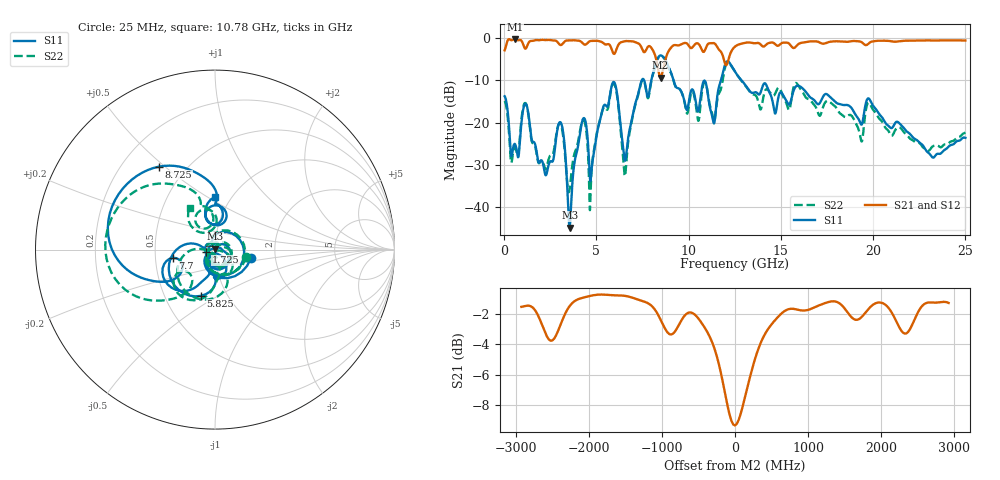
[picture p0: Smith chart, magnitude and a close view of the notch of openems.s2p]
! RG_s4_pwr_n4_cap2: Finite board 24 × 16 mm, via L1 → L4 through the GND/PWR pair L2/L3, four GND vias at 1 mm joined to L2 only (openings in the PWR plane L3), a capacitor between L2 and L3 2 mm away
! stackup: 4-layer 1.6 mm FR-4
! ports: 1 L1, 2 L4
! openEMS 0.37.0, staircase, fine mesh (dfine 0.035 mm), 1536150 cells
# Hz S RI R 50
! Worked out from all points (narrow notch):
!   1000 points, 25 MHz to 25 GHz, reference 50 ohm
!   highest |S21| = -0.26 dB at 575 MHz (marker M1); lowest = -9.3 dB at 8.475 GHz (marker M2)
!   notch at M2: 8.4 dB deep, 490 MHz wide at half that depth
!   lowest |S11| = -44.8 dB at 3.55 GHz (marker M3), VSWR 1.01, Z = 49.8 + j0.545 ohm
!   |S11| at or under -10 dB: start of sweep to 7.459 GHz; 9.181 GHz to 11.75 GHz (2.569 GHz wide, 24.5 % of centre); 12.87 GHz to end of sweep (the widest 3 of 4)
!   |S22| runs from -40.7 to -4.3 dB; largest |S21 - S12| = 0.028
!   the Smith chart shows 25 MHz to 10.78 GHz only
!   S11 on the Smith chart (normalised r, x): 25 MHz: 1.49, -0.15; 1.725 GHz: 0.91, -0.02; 5.825 GHz: 0.75, -0.42; 7.7 GHz: 0.61, -0.06; 8.725 GHz: 0.36, +0.48; 10.78 GHz: 0.84, +0.54
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2.5e7  0.1992 -0.0473  0.7129 0.0384  0.7406 0.0322  0.1748 -0.0416
5.75e8  -0.0548 0.012  0.945 -0.2211  0.9392 -0.2199  -0.0495 0.0119
1.15e9  0.1493 -0.0764  0.6678 -0.3344  0.6688 -0.3281  0.1539 -0.0734
1.725e9  -0.0484 -0.0129  0.754 -0.5703  0.754 -0.5708  -0.0458 -0.0122
2.3e9  -0.0129 0.0211  0.5704 -0.7537  0.5705 -0.7535  -0.0136 0.0261
3.075e9  0.034 -0.0937  0.2714 -0.7794  0.2715 -0.7795  0.0452 -0.0831
3.55e9  -0.00174 0.00547  0.1448 -0.9241  0.1447 -0.9241  -0.000665 0.0164
4.2e9  0.0759 -0.0612  -0.1776 -0.8754  -0.1775 -0.8757  0.0923 -0.0345
4.7e9  0.00676 -0.0211  -0.2859 -0.8775  -0.2859 -0.8776  0.0185 -0.00499
5.825e9  -0.08 -0.2581  -0.6001 -0.4322  -0.6008 -0.433  0.0151 -0.2605
6.55e9  -0.0298 -0.0193  -0.7852 -0.4727  -0.7855 -0.4729  -0.0119 -0.02
7.7e9  -0.2367 -0.0464  -0.7261 -0.00735  -0.7269 -0.00656  -0.2012 -0.125
8.35e9  -0.5879 0.0422  -0.3647 0.211  -0.3647 0.2125  -0.5568 -0.1623
8.475e9  -0.5729 0.2414  -0.3358 0.0591  -0.3358 0.0603  -0.6113 0.029
8.725e9  -0.3131 0.462  -0.5276 -0.1135  -0.5274 -0.1118  -0.4472 0.3239
9.9e9  -0.00142 0.1408  -0.6788 0.5325  -0.6784 0.5326  -0.0332 0.1251
1.0775e10  -0.00229 0.2938  -0.354 0.5914  -0.3528 0.5915  -0.1416 0.2314
1.135e10  0.0287 0.0953  -0.2379 0.8372  -0.2378 0.8372  -0.00558 0.1064
1.2525e10  0.3909 0.0651  -0.1459 0.7813  -0.1473 0.7796  0.311 0.2446
1.6675e10  -0.0431 -0.1882  0.9103 -0.066  0.9135 -0.0657  0.0345 -0.172
2.085e10  -0.0748 0.0512  -0.1957 -0.9014  -0.1976 -0.9041  -0.0752 -0.022
2.5e10  0.0101 -0.0653  -0.8717 0.334  -0.8741 0.3375  -0.0732 -0.0219
